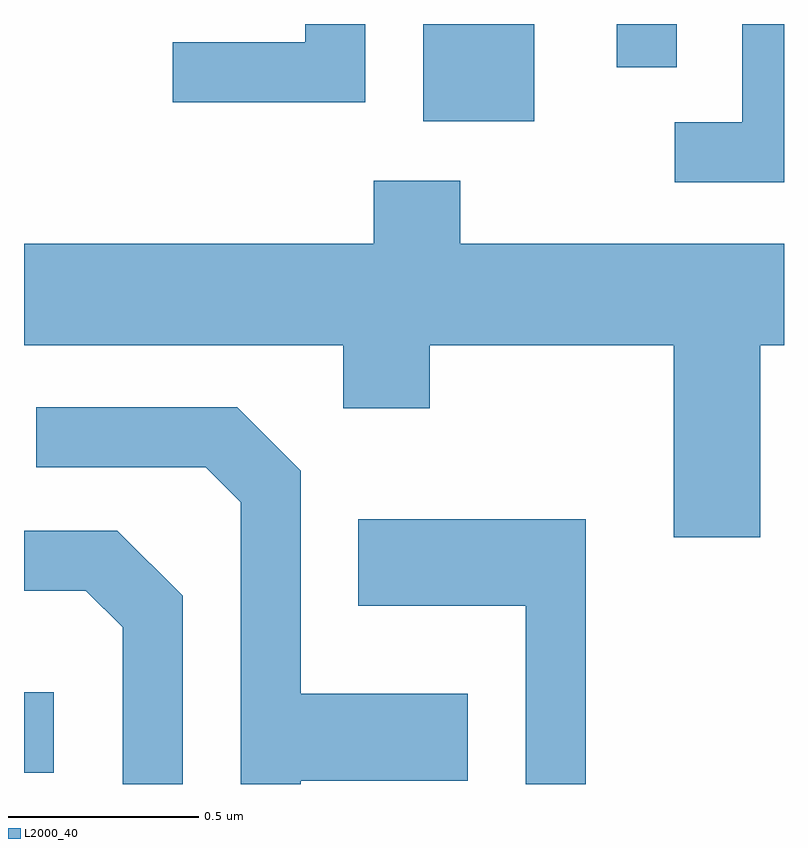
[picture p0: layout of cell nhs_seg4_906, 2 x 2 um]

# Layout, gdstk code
import gdstk
lib = gdstk.Library(unit=1e-6, precision=1e-09)
def R(c, l, rs):  # rectangles x0, y0, x1, y1
    for r in rs: c.add(gdstk.rectangle(r[:2], r[2:], *l))
def P(c, l, *ps):  # polygons
    for p in ps: c.add(gdstk.Polygon(p, *l))
L2000_40 = (2000, 40)

nhs_seg4_906 = lib.new_cell('nhs_seg4_906')
R(nhs_seg4_906, L2000_40, [(191.611,1338.011,191.689,1338.224), (192.661,1339.726,192.954,1339.982), (193.171,1339.868,193.329,1339.982)])
P(nhs_seg4_906, L2000_40, [(192.509,1339.982),(192.351,1339.982),(192.351,1339.934),(192.003,1339.934),(192.003,1339.776),(192.509,1339.776)],
  [(193.611,1339.982),(193.501,1339.982),(193.501,1339.724),(193.323,1339.724),(193.323,1339.566),(193.611,1339.566)],
  [(193.549,1339.136),(193.611,1339.136),(193.611,1339.404),(192.759,1339.404),(192.759,1339.569),(192.531,1339.569),(192.531,1339.404),(191.611,1339.404),(191.611,1339.136),(192.451,1339.136),(192.451,1338.971),(192.679,1338.971),(192.679,1339.136),(193.321,1339.136),(193.321,1338.631),(193.549,1338.631)],
  [(192.339,1337.991),(192.779,1337.991),(192.779,1338.219),(192.339,1338.219),(192.339,1338.807),(192.172,1338.974),(191.643,1338.974),(191.643,1338.816),(192.089,1338.816),(192.181,1338.724),(192.181,1337.982),(192.339,1337.982)],
  [(193.089,1338.679),(192.491,1338.679),(192.491,1338.451),(192.931,1338.451),(192.931,1337.982),(193.089,1337.982)],
  [(192.029,1338.477),(191.857,1338.649),(191.611,1338.649),(191.611,1338.491),(191.774,1338.491),(191.871,1338.394),(191.871,1337.982),(192.029,1337.982)])

lib.write_gds('nhs_seg4_906.gds')
